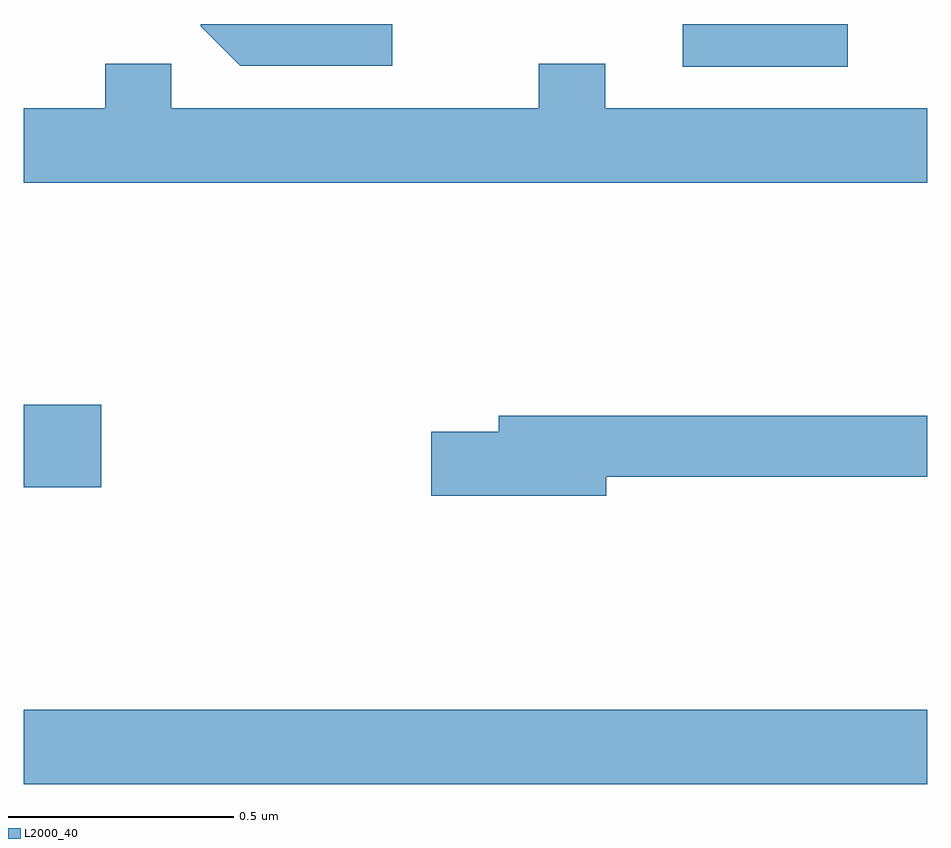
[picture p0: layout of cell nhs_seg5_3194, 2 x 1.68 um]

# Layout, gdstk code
import gdstk
lib = gdstk.Library(unit=1e-6, precision=1e-09)
def R(c, l, rs):  # rectangles x0, y0, x1, y1
    for r in rs: c.add(gdstk.rectangle(r[:2], r[2:], *l))
def P(c, l, *ps):  # polygons
    for p in ps: c.add(gdstk.Polygon(p, *l))
L2000_40 = (2000, 40)

nhs_seg5_3194 = lib.new_cell('nhs_seg5_3194')
R(nhs_seg5_3194, L2000_40, [(154,834.116,156,834.28), (154,834.773,154.171,834.956), (155.459,835.704,155.824,835.799)])
P(nhs_seg5_3194, L2000_40, [(154.816,835.799),(154.392,835.799),(154.392,835.794),(154.479,835.707),(154.816,835.707)],
  [(156,835.612),(155.287,835.612),(155.287,835.711),(155.14,835.711),(155.14,835.612),(154.326,835.612),(154.326,835.711),(154.18,835.711),(154.18,835.612),(154,835.612),(154,835.448),(156,835.448)],
  [(155.29,834.796),(156,834.796),(156,834.932),(155.051,834.932),(155.051,834.896),(154.902,834.896),(154.902,834.754),(155.29,834.754)])

lib.write_gds('nhs_seg5_3194.gds')
